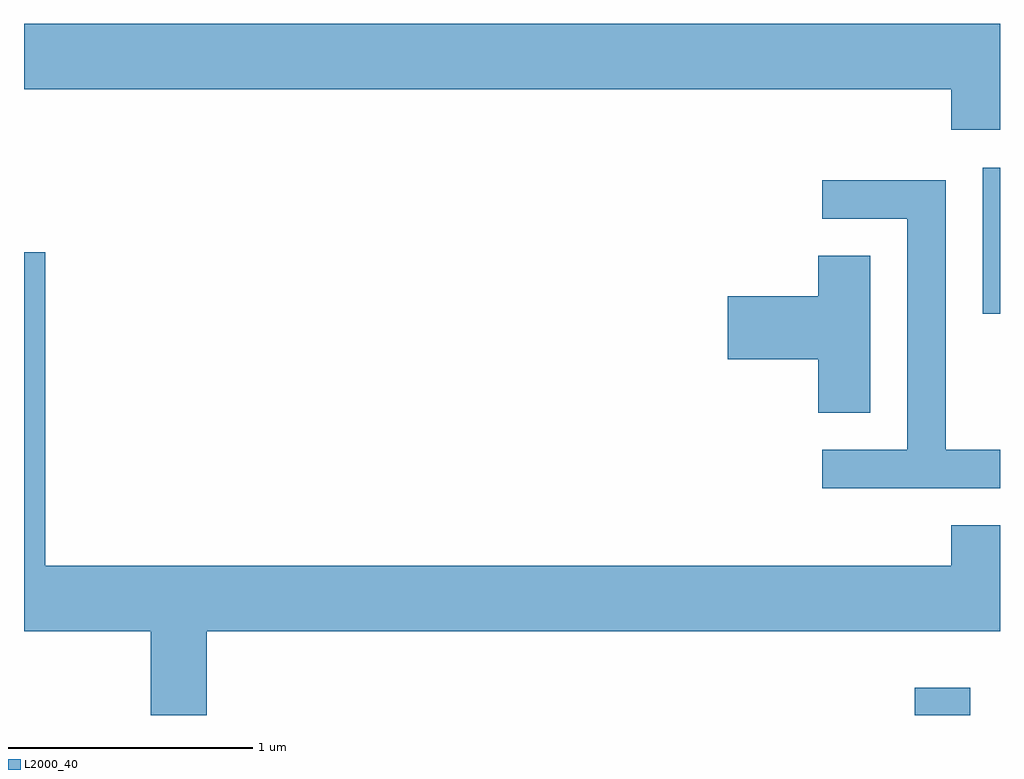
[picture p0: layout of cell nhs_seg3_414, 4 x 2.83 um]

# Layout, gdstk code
import gdstk
lib = gdstk.Library(unit=1e-6, precision=1e-09)
def R(c, l, rs):  # rectangles x0, y0, x1, y1
    for r in rs: c.add(gdstk.rectangle(r[:2], r[2:], *l))
def P(c, l, *ps):  # polygons
    for p in ps: c.add(gdstk.Polygon(p, *l))
L2000_40 = (2000, 40)

nhs_seg3_414 = lib.new_cell('nhs_seg3_414')
R(nhs_seg3_414, L2000_40, [(201.261,1127.892,201.489,1128.004), (201.541,1129.536,201.611,1130.134)])
P(nhs_seg3_414, L2000_40, [(201.611,1130.724),(197.611,1130.724),(197.611,1130.456),(201.411,1130.456),(201.411,1130.291),(201.611,1130.291)],
  [(201.611,1128.979),(201.389,1128.979),(201.389,1130.084),(200.883,1130.084),(200.883,1129.926),(201.231,1129.926),(201.231,1128.979),(200.883,1128.979),(200.883,1128.821),(201.611,1128.821)],
  [(198.359,1128.236),(201.611,1128.236),(201.611,1128.669),(201.411,1128.669),(201.411,1128.504),(197.699,1128.504),(197.699,1129.789),(197.611,1129.789),(197.611,1128.236),(198.131,1128.236),(198.131,1127.892),(198.359,1127.892)],
  [(201.079,1129.774),(200.866,1129.774),(200.866,1129.609),(200.496,1129.609),(200.496,1129.351),(200.866,1129.351),(200.866,1129.131),(201.079,1129.131)])

lib.write_gds('nhs_seg3_414.gds')
